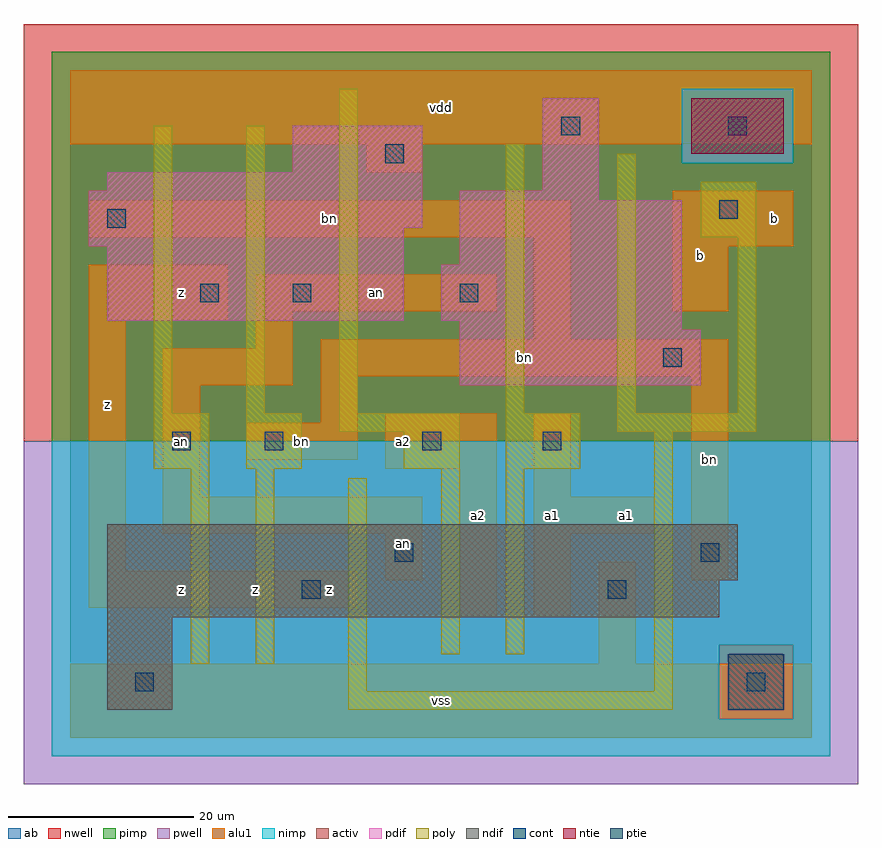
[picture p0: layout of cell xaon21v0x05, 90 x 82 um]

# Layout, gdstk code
import gdstk
lib = gdstk.Library(unit=1e-6, precision=1e-09)
def R(c, l, rs):  # rectangles x0, y0, x1, y1
    for r in rs: c.add(gdstk.rectangle(r[:2], r[2:], *l))
ndif = (3, 0)
pdif = (4, 0)
ntie = (5, 0)
ptie = (6, 0)
cont = (25, 0)
pwell = (41, 0)
nwell = (42, 0)
activ = (43, 0)
pimp = (44, 0)
nimp = (45, 0)
poly = (46, 0)
alu1 = (49, 0)
ab = (63, 0)

xaon21v0x05 = lib.new_cell('xaon21v0x05')
R(xaon21v0x05, ndif, [(4,3,11,13), (4,13,70,17), (4,17,72,23)])
R(xaon21v0x05, pdif, [(42,38,68,44), (42,44,66,45), (4,45,36,53), (40,45,66,51), (42,51,66,58), (2,53,36,55), (2,55,38,59), (42,58,57,59), (4,59,38,61), (51,59,57,69), (24,61,38,66)])
R(xaon21v0x05, ntie, [(67,63,77,69)])
R(xaon21v0x05, ptie, [(71,3,77,9)])
R(xaon21v0x05, cont, [(7,5,9,7), (73,5,75,7), (25,15,27,17), (58,15,60,17), (35,19,37,21), (68,19,70,21), (11,31,13,33), (21,31,23,33), (38,31,40,33), (51,31,53,33), (64,40,66,42), (14,47,16,49), (24,47,26,49), (42,47,44,49), (4,55,6,57), (70,56,72,58), (34,62,36,64), (53,65,55,67), (71,65,73,67)])
R(xaon21v0x05, pwell, [(-5,-5,85,32)])
R(xaon21v0x05, nwell, [(-5,32,85,77)])
R(xaon21v0x05, activ, [(4,3,11,13), (71,3,77,9), (4,13,70,17), (4,17,72,23), (42,38,68,44), (42,44,66,45), (4,45,36,53), (40,45,66,51), (42,51,66,58), (2,53,36,55), (2,55,38,59), (42,58,57,59), (4,59,38,61), (51,59,57,69), (24,61,38,66), (67,63,77,69)])
R(xaon21v0x05, pimp, [(70,2,78,10), (-2,32,82,62), (-2,62,66,70), (78,62,82,70), (-2,70,82,74)])
R(xaon21v0x05, nimp, [(-2,-2,82,2), (-2,2,70,10), (78,2,82,10), (-2,10,82,32), (66,62,78,70)])
R(xaon21v0x05, poly, [(30,3,65,5), (30,5,32,28), (63,5,65,33), (13,8,15,29), (20,8,22,29), (40,9,42,29), (47,9,49,29), (9,29,15,35), (19,29,25,35), (36,29,42,33), (47,29,55,35), (29,33,42,35), (59,33,74,35), (9,35,11,66), (19,35,21,66), (29,35,31,70), (47,35,49,64), (59,35,61,63), (72,35,74,54), (68,54,74,60)])
R(xaon21v0x05, alu1, [(0,0,80,8), (57,8,61,19), (42,13,46,29), (50,13,54,22), (2,14,31,18), (34,17,38,22), (67,17,71,39), (2,18,6,45), (10,22,38,26), (50,22,63,26), (10,26,14,38), (50,26,54,35), (34,29,46,35), (19,30,31,34), (27,34,31,39), (10,38,24,42), (27,39,71,43), (20,42,24,46), (50,43,54,54), (2,45,17,51), (20,46,46,50), (65,46,71,53), (65,53,78,59), (2,54,54,58), (32,61,38,64), (0,64,80,72)])
R(xaon21v0x05, ab, [(0,0,80,72)])
xaon21v0x05.add(gdstk.Label('an', (12,32), layer=49, texttype=0))
xaon21v0x05.add(gdstk.Label('an', (36,21), layer=49, texttype=0))
xaon21v0x05.add(gdstk.Label('bn', (25,32), layer=49, texttype=0))
xaon21v0x05.add(gdstk.Label('an', (33,48), layer=49, texttype=0))
xaon21v0x05.add(gdstk.Label('bn', (28,56), layer=49, texttype=0))
xaon21v0x05.add(gdstk.Label('bn', (69,30), layer=49, texttype=0))
xaon21v0x05.add(gdstk.Label('bn', (49,41), layer=49, texttype=0))
xaon21v0x05.add(gdstk.Label('z', (12,16), layer=49, texttype=0))
xaon21v0x05.add(gdstk.Label('z', (4,36), layer=49, texttype=0))
xaon21v0x05.add(gdstk.Label('z', (12,48), layer=49, texttype=0))
xaon21v0x05.add(gdstk.Label('z', (28,16), layer=49, texttype=0))
xaon21v0x05.add(gdstk.Label('z', (20,16), layer=49, texttype=0))
xaon21v0x05.add(gdstk.Label('a2', (36,32), layer=49, texttype=0))
xaon21v0x05.add(gdstk.Label('vss', (40,4), layer=49, texttype=0))
xaon21v0x05.add(gdstk.Label('a2', (44,24), layer=49, texttype=0))
xaon21v0x05.add(gdstk.Label('a1', (52,24), layer=49, texttype=0))
xaon21v0x05.add(gdstk.Label('vdd', (40,68), layer=49, texttype=0))
xaon21v0x05.add(gdstk.Label('a1', (60,24), layer=49, texttype=0))
xaon21v0x05.add(gdstk.Label('b', (68,52), layer=49, texttype=0))
xaon21v0x05.add(gdstk.Label('b', (76,56), layer=49, texttype=0))

lib.write_gds('xaon21v0x05.gds')
